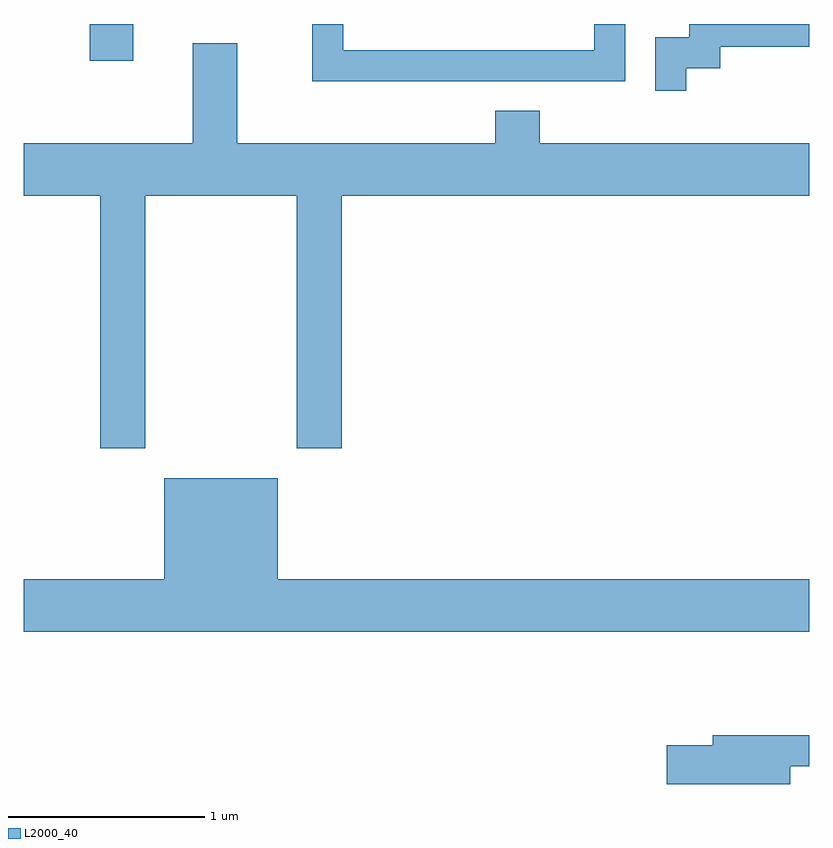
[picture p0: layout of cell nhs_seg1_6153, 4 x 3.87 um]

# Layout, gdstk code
import gdstk
lib = gdstk.Library(unit=1e-6, precision=1e-09)
def R(c, l, rs):  # rectangles x0, y0, x1, y1
    for r in rs: c.add(gdstk.rectangle(r[:2], r[2:], *l))
def P(c, l, *ps):  # polygons
    for p in ps: c.add(gdstk.Polygon(p, *l))
L2000_40 = (2000, 40)

nhs_seg1_6153 = lib.new_cell('nhs_seg1_6153')
R(nhs_seg1_6153, L2000_40, [(369.946,973.526,370.169,973.712)])
P(nhs_seg1_6153, L2000_40, [(372.674,973.712),(372.516,973.712),(372.516,973.579),(371.239,973.579),(371.239,973.712),(371.081,973.712),(371.081,973.421),(372.674,973.421)],
  [(372.984,973.486),(373.159,973.486),(373.159,973.596),(373.611,973.596),(373.611,973.712),(373.001,973.712),(373.001,973.644),(372.826,973.644),(372.826,973.373),(372.984,973.373)],
  [(370.229,972.836),(371.001,972.836),(371.001,971.551),(371.229,971.551),(371.229,972.836),(373.611,972.836),(373.611,973.104),(372.239,973.104),(372.239,973.269),(372.011,973.269),(372.011,973.104),(370.699,973.104),(370.699,973.614),(370.471,973.614),(370.471,973.104),(369.611,973.104),(369.611,972.836),(370.001,972.836),(370.001,971.551),(370.229,971.551)],
  [(373.611,970.884),(370.904,970.884),(370.904,971.399),(370.326,971.399),(370.326,970.884),(369.611,970.884),(369.611,970.616),(373.611,970.616)],
  [(373.514,969.931),(373.611,969.931),(373.611,970.089),(373.121,970.089),(373.121,970.039),(372.886,970.039),(372.886,969.841),(373.514,969.841)])

lib.write_gds('nhs_seg1_6153.gds')
